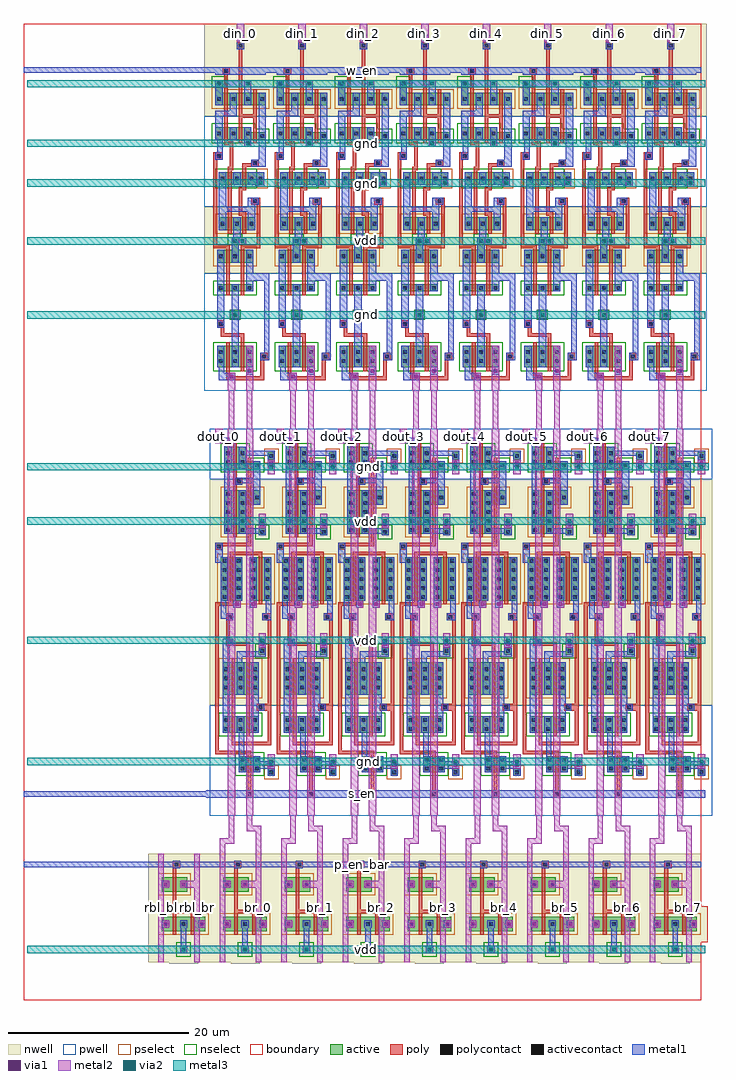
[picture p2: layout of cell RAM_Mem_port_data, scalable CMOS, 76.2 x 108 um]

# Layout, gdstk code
import gdstk
lib = gdstk.Library(unit=1e-6, precision=1e-09)
def R(c, l, rs):  # rectangles x0, y0, x1, y1
    for r in rs: c.add(gdstk.rectangle(r[:2], r[2:], *l))
def A(c, l, x, y, w, h, nx, ny, dx, dy):  # array of equal rectangles
    R(c, l, [(x+i*dx, y+j*dy, x+i*dx+w, y+j*dy+h) for i in range(nx) for j in range(ny)])
def P(c, l, *ps):  # polygons
    for p in ps: c.add(gdstk.Polygon(p, *l))
pwell = (41, 0)
nwell = (42, 0)
active = (43, 0)
pselect = (44, 0)
nselect = (45, 0)
poly = (46, 0)
polycontact = (47, 0)
activecontact = (48, 0)
metal1 = (49, 0)
via1 = (50, 0)
metal2 = (51, 0)
via2 = (61, 0)
metal3 = (62, 0)
boundary = (63, 0)

ram_mem_contact_12 = lib.new_cell('RAM_Mem_contact_12')
R(ram_mem_contact_12, nwell, [(-1.2,-1.2,2,2)])
R(ram_mem_contact_12, active, [(0,0,0.8,0.8)])
R(ram_mem_contact_12, pselect, [(-0.4,-0.4,1.2,1.2)])
R(ram_mem_contact_12, activecontact, [(0.2,0.2,0.6,0.6)])
R(ram_mem_contact_12, metal1, [(0,0,0.8,0.8)])
R(ram_mem_contact_12, boundary, [(-1.2,-1.2,2,2)])

ram_mem_pmos_m1_w1_600_s = lib.new_cell('RAM_Mem_pmos_m1_w1_600_sm1_dm1')
R(ram_mem_pmos_m1_w1_600_s, nwell, [(-1.2,-1.2,4,2.8)])
R(ram_mem_pmos_m1_w1_600_s, active, [(0,0,2.8,1.6)])
R(ram_mem_pmos_m1_w1_600_s, pselect, [(-0.4,-0.4,3.2,2)])
R(ram_mem_pmos_m1_w1_600_s, poly, [(1.2,-0.4,1.6,2), (1.2,-0.4,1.6,2)])
R(ram_mem_pmos_m1_w1_600_s, metal1, [(0,0.4,0.8,1.2), (2,0.4,2.8,1.2)])
R(ram_mem_pmos_m1_w1_600_s, boundary, [(-1.2,-1.2,4,2.8)])
ram_mem_pmos_m1_w1_600_s.add(gdstk.Reference(ram_mem_contact_12, (0,0.4)))
ram_mem_pmos_m1_w1_600_s.add(gdstk.Reference(ram_mem_contact_12, (2,0.4)))
ram_mem_pmos_m1_w1_600_s.add(gdstk.Label('G', (1.4,0.8), layer=46, texttype=0))
ram_mem_pmos_m1_w1_600_s.add(gdstk.Label('S', (0.4,0.8), layer=49, texttype=0))
ram_mem_pmos_m1_w1_600_s.add(gdstk.Label('D', (2.4,0.8), layer=49, texttype=0))

ram_mem_contact_15 = lib.new_cell('RAM_Mem_contact_15')
R(ram_mem_contact_15, poly, [(0,0,0.8,0.8)])
R(ram_mem_contact_15, polycontact, [(0.2,0.2,0.6,0.6)])
R(ram_mem_contact_15, metal1, [(0,0,0.8,0.8)])
R(ram_mem_contact_15, boundary, [(0,0,0.8,0.8)])

ram_mem_contact_23 = lib.new_cell('RAM_Mem_contact_23')
R(ram_mem_contact_23, nwell, [(-1.2,-1.2,2,2)])
R(ram_mem_contact_23, active, [(0,0,0.8,0.8)])
R(ram_mem_contact_23, nselect, [(-0.4,-0.4,1.2,1.2)])
R(ram_mem_contact_23, activecontact, [(0.2,0.2,0.6,0.6)])
R(ram_mem_contact_23, metal1, [(0,0,0.8,0.8)])
R(ram_mem_contact_23, boundary, [(-1.2,-1.2,2,2)])

ram_mem_contact_18 = lib.new_cell('RAM_Mem_contact_18')
R(ram_mem_contact_18, metal1, [(0,0,0.8,0.8)])
R(ram_mem_contact_18, via1, [(0.2,0.2,0.6,0.6)])
R(ram_mem_contact_18, metal2, [(0,0,0.8,0.8)])
R(ram_mem_contact_18, boundary, [(0,0,0.8,0.8)])

ram_mem_contact_24 = lib.new_cell('RAM_Mem_contact_24')
R(ram_mem_contact_24, metal1, [(0,0,0.8,0.8)])
R(ram_mem_contact_24, via1, [(0.2,0.2,0.6,0.6)])
R(ram_mem_contact_24, metal2, [(0,0,0.8,0.8)])
R(ram_mem_contact_24, boundary, [(0,0,0.8,0.8)])

ram_mem_precharge_0 = lib.new_cell('RAM_Mem_precharge_0')
R(ram_mem_precharge_0, nwell, [(0,0,6.8,12)])
R(ram_mem_precharge_0, poly, [(2.7,1,3.1,1.4), (2.9,1,3.1,1.4), (2.7,1.2,3.1,2.2), (2.7,4.6,3.1,6.6), (2.7,6.2,5.1,6.6)])
R(ram_mem_precharge_0, metal1, [(0,0.9,6.8,1.5), (3.6,7.8,4.2,10.6), (3.6,10.3,4.2,10.9)])
R(ram_mem_precharge_0, metal2, [(1.1,0,1.7,12), (1.1,0,1.7,12), (5.1,0,5.7,12), (5.1,0,5.7,12), (1.4,3,1.9,3.8), (3.9,3,5.4,3.8), (1.4,7.4,1.9,8.2), (5.4,7.4,5.9,8.2)])
R(ram_mem_precharge_0, boundary, [(0,0,6.8,12)])
ram_mem_precharge_0.add(gdstk.Reference(ram_mem_pmos_m1_w1_600_s, (1.5,2.6)))
ram_mem_precharge_0.add(gdstk.Reference(ram_mem_pmos_m1_w1_600_s, (1.5,7)))
ram_mem_precharge_0.add(gdstk.Reference(ram_mem_pmos_m1_w1_600_s, (3.5,7)))
ram_mem_precharge_0.add(gdstk.Reference(ram_mem_contact_15, (2.7,0.8)))
ram_mem_precharge_0.add(gdstk.Reference(ram_mem_contact_23, (3.5,10.2)))
ram_mem_precharge_0.add(gdstk.Reference(ram_mem_contact_18, (3.5,10.2)))
ram_mem_precharge_0.add(gdstk.Reference(ram_mem_contact_24, (1.5,3)))
ram_mem_precharge_0.add(gdstk.Reference(ram_mem_contact_24, (3.5,3)))
ram_mem_precharge_0.add(gdstk.Reference(ram_mem_contact_24, (1.5,7.4)))
ram_mem_precharge_0.add(gdstk.Reference(ram_mem_contact_24, (5.5,7.4)))
ram_mem_precharge_0.add(gdstk.Label('en_bar', (3.4,1.2), layer=49, texttype=0))
ram_mem_precharge_0.add(gdstk.Label('vdd', (3.9,10.6), layer=49, texttype=0))
ram_mem_precharge_0.add(gdstk.Label('bl', (1.4,6), layer=51, texttype=0))
ram_mem_precharge_0.add(gdstk.Label('br', (5.4,6), layer=51, texttype=0))

ram_mem_contact_19 = lib.new_cell('RAM_Mem_contact_19')
R(ram_mem_contact_19, metal2, [(0,0,0.8,0.8)])
R(ram_mem_contact_19, via2, [(0.2,0.2,0.6,0.6)])
R(ram_mem_contact_19, metal3, [(0,0,0.8,0.8)])
R(ram_mem_contact_19, boundary, [(0,0,0.8,0.8)])

ram_mem_precharge_array = lib.new_cell('RAM_Mem_precharge_array')
R(ram_mem_precharge_array, metal1, [(0,0.9,75,1.5), (16.9,0.9,17.5,1.5), (16.9,0.9,17.5,1.5), (23.7,0.9,24.3,1.5), (23.7,0.9,24.3,1.5), (30.5,0.9,31.1,1.5), (30.5,0.9,31.1,1.5), (37.3,0.9,37.9,1.5), (37.3,0.9,37.9,1.5), (44.1,0.9,44.7,1.5), (44.1,0.9,44.7,1.5), (50.9,0.9,51.5,1.5), (50.9,0.9,51.5,1.5), (57.7,0.9,58.3,1.5), (57.7,0.9,58.3,1.5), (64.5,0.9,65.1,1.5), (64.5,0.9,65.1,1.5), (71.3,0.9,71.9,1.5), (71.3,0.9,71.9,1.5)])
R(ram_mem_precharge_array, metal2, [(14.9,0,15.5,12), (18.9,0,19.5,12), (21.7,0,22.3,12), (25.7,0,26.3,12), (28.5,0,29.1,12), (32.5,0,33.1,12), (35.3,0,35.9,12), (39.3,0,39.9,12), (42.1,0,42.7,12), (46.1,0,46.7,12), (48.9,0,49.5,12), (52.9,0,53.5,12), (55.7,0,56.3,12), (59.7,0,60.3,12), (62.5,0,63.1,12), (66.5,0,67.1,12), (69.3,0,69.9,12), (73.3,0,73.9,12)])
R(ram_mem_precharge_array, metal3, [(0.4,10.2,75.4,11)])
R(ram_mem_precharge_array, boundary, [(0,0,75,12)])
ram_mem_precharge_array.add(gdstk.Reference(ram_mem_precharge_0, (13.8,0)))
ram_mem_precharge_array.add(gdstk.Reference(ram_mem_precharge_0, (20.6,0)))
ram_mem_precharge_array.add(gdstk.Reference(ram_mem_precharge_0, (27.4,0)))
ram_mem_precharge_array.add(gdstk.Reference(ram_mem_precharge_0, (34.2,0)))
ram_mem_precharge_array.add(gdstk.Reference(ram_mem_precharge_0, (41,0)))
ram_mem_precharge_array.add(gdstk.Reference(ram_mem_precharge_0, (47.8,0)))
ram_mem_precharge_array.add(gdstk.Reference(ram_mem_precharge_0, (54.6,0)))
ram_mem_precharge_array.add(gdstk.Reference(ram_mem_precharge_0, (61.4,0)))
ram_mem_precharge_array.add(gdstk.Reference(ram_mem_precharge_0, (68.2,0)))
ram_mem_precharge_array.add(gdstk.Reference(ram_mem_contact_18, (17.3,10.2)))
ram_mem_precharge_array.add(gdstk.Reference(ram_mem_contact_19, (17.3,10.2)))
ram_mem_precharge_array.add(gdstk.Reference(ram_mem_contact_18, (24.1,10.2)))
ram_mem_precharge_array.add(gdstk.Reference(ram_mem_contact_19, (24.1,10.2)))
ram_mem_precharge_array.add(gdstk.Reference(ram_mem_contact_18, (30.9,10.2)))
ram_mem_precharge_array.add(gdstk.Reference(ram_mem_contact_19, (30.9,10.2)))
ram_mem_precharge_array.add(gdstk.Reference(ram_mem_contact_18, (37.7,10.2)))
ram_mem_precharge_array.add(gdstk.Reference(ram_mem_contact_19, (37.7,10.2)))
ram_mem_precharge_array.add(gdstk.Reference(ram_mem_contact_18, (44.5,10.2)))
ram_mem_precharge_array.add(gdstk.Reference(ram_mem_contact_19, (44.5,10.2)))
ram_mem_precharge_array.add(gdstk.Reference(ram_mem_contact_18, (51.3,10.2)))
ram_mem_precharge_array.add(gdstk.Reference(ram_mem_contact_19, (51.3,10.2)))
ram_mem_precharge_array.add(gdstk.Reference(ram_mem_contact_18, (58.1,10.2)))
ram_mem_precharge_array.add(gdstk.Reference(ram_mem_contact_19, (58.1,10.2)))
ram_mem_precharge_array.add(gdstk.Reference(ram_mem_contact_18, (64.9,10.2)))
ram_mem_precharge_array.add(gdstk.Reference(ram_mem_contact_19, (64.9,10.2)))
ram_mem_precharge_array.add(gdstk.Reference(ram_mem_contact_18, (71.7,10.2)))
ram_mem_precharge_array.add(gdstk.Reference(ram_mem_contact_19, (71.7,10.2)))
ram_mem_precharge_array.add(gdstk.Label('en_bar', (37.5,1.2), layer=49, texttype=0))
ram_mem_precharge_array.add(gdstk.Label('bl_0', (15.2,6), layer=51, texttype=0))
ram_mem_precharge_array.add(gdstk.Label('br_0', (19.2,6), layer=51, texttype=0))
ram_mem_precharge_array.add(gdstk.Label('bl_1', (22,6), layer=51, texttype=0))
ram_mem_precharge_array.add(gdstk.Label('br_1', (26,6), layer=51, texttype=0))
ram_mem_precharge_array.add(gdstk.Label('bl_2', (28.8,6), layer=51, texttype=0))
ram_mem_precharge_array.add(gdstk.Label('br_2', (32.8,6), layer=51, texttype=0))
ram_mem_precharge_array.add(gdstk.Label('bl_3', (35.6,6), layer=51, texttype=0))
ram_mem_precharge_array.add(gdstk.Label('br_3', (39.6,6), layer=51, texttype=0))
ram_mem_precharge_array.add(gdstk.Label('bl_4', (42.4,6), layer=51, texttype=0))
ram_mem_precharge_array.add(gdstk.Label('br_4', (46.4,6), layer=51, texttype=0))
ram_mem_precharge_array.add(gdstk.Label('bl_5', (49.2,6), layer=51, texttype=0))
ram_mem_precharge_array.add(gdstk.Label('br_5', (53.2,6), layer=51, texttype=0))
ram_mem_precharge_array.add(gdstk.Label('bl_6', (56,6), layer=51, texttype=0))
ram_mem_precharge_array.add(gdstk.Label('br_6', (60,6), layer=51, texttype=0))
ram_mem_precharge_array.add(gdstk.Label('bl_7', (62.8,6), layer=51, texttype=0))
ram_mem_precharge_array.add(gdstk.Label('br_7', (66.8,6), layer=51, texttype=0))
ram_mem_precharge_array.add(gdstk.Label('bl_8', (69.6,6), layer=51, texttype=0))
ram_mem_precharge_array.add(gdstk.Label('br_8', (73.6,6), layer=51, texttype=0))
ram_mem_precharge_array.add(gdstk.Label('vdd', (37.9,10.6), layer=62, texttype=0))

sense_amp = lib.new_cell('sense_amp')
R(sense_amp, pwell, [(0,0,8,5.6), (0,30.6,8,42.8)])
R(sense_amp, nwell, [(0,5.6,8,30.6)])
R(sense_amp, active, [(1.6,2,4,3.6), (6.4,2.6,7.2,3.4), (1.6,3.6,5.6,4.4), (1.6,6.8,5.6,8.4), (1.6,8.4,4,11.6), (5.4,11,6.2,11.8), (1.2,14.2,3.6,19), (4.4,14.2,6.8,19), (5.4,24.2,6.2,25), (1.4,25.8,5.4,29.4), (1.4,31.8,5.4,33.6), (3.2,36.2,5.6,38), (6.4,37.6,7.2,38.4)])
R(sense_amp, pselect, [(6,2.2,7.6,3.8), (1.2,6.4,6,8.8), (1.2,8.8,4.4,12), (0.8,13.8,7.2,19.4), (1,25.4,5.8,29.8), (6,37.2,7.6,38.8)])
R(sense_amp, nselect, [(1.2,1.6,4.4,3.2), (1.2,3.2,6,4.8), (5,10.6,6.6,12.2), (5,23.8,6.6,25.4), (1,31.4,5.8,34), (2.8,35.8,6,38.4)])
R(sense_amp, poly, [(2.6,1.6,3,5.4), (4.2,3.2,4.6,12.6), (2.6,5.4,3.6,6.2), (2.6,6.2,3,12), (0.6,12.6,4.6,13), (0.6,13,1.4,13.4), (2.2,13.6,5.8,14), (2.2,14,2.6,19.2), (5.4,14,5.8,19.4), (0.6,19.2,2.6,19.6), (0.6,19.6,1,35.6), (1.8,20.4,2.6,21.2), (5.8,20.4,6.8,21.2), (1.8,21.2,2.2,23.2), (6.4,21.2,6.8,30.4), (1.8,23.2,2.6,23.6), (1.8,23.6,4.4,24), (4,24,4.4,34), (2.4,25.4,2.8,34.6), (5.2,30.4,6.8,31.2), (6.4,31.2,6.8,34.6), (2.4,34.6,6.8,35), (0.6,35.6,4.6,36), (4.2,36,4.6,40), (4,40,4.8,40.8)])
R(sense_amp, polycontact, [(3,5.6,3.4,6), (0.8,12.8,1.2,13.2), (2,20.6,2.4,21), (6,20.6,6.4,21), (2,23.4,2.4,23.8), (5.4,30.6,5.8,31), (4.2,40.2,4.6,40.6)])
A(sense_amp, activecontact, 1.8, 7, 0.4, 0.4, 1, 5, 0, 1)
A(sense_amp, activecontact, 3.4, 7, 0.4, 0.4, 1, 5, 0, 1)
A(sense_amp, activecontact, 1.4, 14.4, 0.4, 0.4, 4, 5, 1.6, 1)
A(sense_amp, activecontact, 1.6, 26.4, 0.4, 0.4, 3, 3, 1.6, 1)
A(sense_amp, activecontact, 1.6, 32, 0.4, 0.4, 3, 2, 1.6, 1)
R(sense_amp, activecontact, [(1.8,2.5,2.2,2.9), (3.4,2.5,3.8,2.9), (6.6,2.8,7,3.2), (1.8,3.5,2.2,3.9), (3.4,3.5,3.8,3.9), (5,3.8,5.4,4.2), (5,7.4,5.4,7.8), (5.6,11.2,6,11.6), (5.6,24.4,6,24.8), (3.4,36.4,3.8,36.8), (5,36.4,5.4,36.8), (3.4,37.4,3.8,37.8), (5,37.4,5.4,37.8), (6.6,37.8,7,38.2)])
R(sense_amp, metal1, [(0.6,0.8,1.4,1), (0.6,1,2.2,1.6), (1.6,1.6,2.2,2), (1.6,2,2.4,4.4), (3.2,2,4,2.4), (3.2,2.4,7.2,3), (3.2,3,4,4.4), (6.4,3,7.2,4.2), (4.8,3.6,5.6,5.4), (1.6,4.4,2.2,6.8), (2.8,5.4,5.6,6), (2.8,6,3.6,6.2), (4.8,6,5.6,8.4), (1.6,6.8,2.4,11.6), (3.2,6.8,4,11), (5.4,10.2,6.2,11), (3.2,11,6.2,11.6), (5.4,11.6,6.2,11.8), (0.6,12.6,1.4,14.2), (0.6,14.2,2,14.8), (2.8,14.2,3.6,19), (4.4,14.2,5.2,19.8), (6,14.2,6.8,19), (1.2,14.8,2,19), (1.2,19,1.8,20.4), (2.6,19,3.4,19.8), (6.2,19,6.8,20.4), (1.2,20.4,2.6,21), (5.8,20.4,6.8,21.2), (1.8,21,2.6,21.2), (1.4,23.2,2.6,24), (5.4,23.4,6.2,24.6), (1.4,24,2.2,33.6), (3,24.6,6.2,25.2), (3,25.2,3.6,25.8), (3,25.8,3.8,29.4), (4.6,25.8,5.4,30.4), (4.6,30.4,6,31.2), (4.6,31.2,5.4,33.6), (3,31.8,3.8,33.6), (3.2,33.6,3.8,36.2), (3.2,36.2,4,38), (4.8,36.2,5.6,36.8), (4.8,36.8,7.2,37.6), (4.8,37.6,5.6,38), (6.4,37.6,7.2,38.4), (-0.4,40,7.2,40.8), (-0.4,40,7.2,40.8)])
R(sense_amp, via1, [(0.8,1,1.2,1.4), (6.6,3.6,7,4), (5.6,10.4,6,10.8), (2.8,19.2,3.2,19.6), (4.6,19.2,5,19.6), (5.6,23.6,6,24), (6.6,37,7,37.4)])
R(sense_amp, metal2, [(0.6,0,1.4,1.6), (0.6,0,1.4,1.6), (2,0,2.8,19), (4,0,4.8,19), (6.4,3.4,7.2,5), (6.4,3.4,7.2,5), (5.4,9.4,6.2,11), (5.4,9.4,6.2,11), (2,19,3.4,19.8), (4,19,5.2,19.8), (2,19.8,2.8,42.8), (2,19.8,2.8,42.8), (4,19.8,4.8,42.8), (4,19.8,4.8,42.8), (5.4,22.6,6.2,24.2), (5.4,22.6,6.2,24.2), (6.4,36,7.2,37.6), (6.4,36,7.2,37.6)])
R(sense_amp, boundary, [(0,0,6.8,42.8)])
sense_amp.add(gdstk.Label('dout', (1,0.4), layer=51, texttype=0))
sense_amp.add(gdstk.Label('vdd', (5.8,9.8), layer=51, texttype=0))
sense_amp.add(gdstk.Label('br', (4.4,42.4), layer=51, texttype=0))
sense_amp.add(gdstk.Label('bl', (2.4,42.4), layer=51, texttype=0))
sense_amp.add(gdstk.Label('vdd', (5.8,23), layer=51, texttype=0))
sense_amp.add(gdstk.Label('gnd', (6.8,36.4), layer=51, texttype=0))
sense_amp.add(gdstk.Label('en', (0,40), layer=49, texttype=0))
sense_amp.add(gdstk.Label('gnd', (6.8,4.6), layer=51, texttype=0))
sense_amp.add(gdstk.Label('bl', (2.4,31.3), layer=51, texttype=0))
sense_amp.add(gdstk.Label('br', (4.4,31.3), layer=51, texttype=0))
sense_amp.add(gdstk.Label('dout', (1,0.8), layer=51, texttype=0))
sense_amp.add(gdstk.Label('en', (3.4,40.4), layer=49, texttype=0))
sense_amp.add(gdstk.Label('vdd', (5.8,10.2), layer=51, texttype=0))
sense_amp.add(gdstk.Label('vdd', (5.8,23.4), layer=51, texttype=0))
sense_amp.add(gdstk.Label('gnd', (6.8,36.8), layer=51, texttype=0))
sense_amp.add(gdstk.Label('gnd', (6.8,4.2), layer=51, texttype=0))

ram_mem_sense_amp_array = lib.new_cell('RAM_Mem_sense_amp_array')
A(ram_mem_sense_amp_array, metal1, 23.7, 40.1, 0.6, 0.6, 8, 1, 6.8, 0)
R(ram_mem_sense_amp_array, metal1, [(0,40.1,75,40.7)])
A(ram_mem_sense_amp_array, metal2, 21.2, 0, 0.8, 1.6, 8, 1, 6.8, 0)
R(ram_mem_sense_amp_array, metal2, [(22.6,19.8,23.4,42.8), (24.6,19.8,25.4,42.8), (29.4,19.8,30.2,42.8), (31.4,19.8,32.2,42.8), (36.2,19.8,37,42.8), (38.2,19.8,39,42.8), (43,19.8,43.8,42.8), (45,19.8,45.8,42.8), (49.8,19.8,50.6,42.8), (51.8,19.8,52.6,42.8), (56.6,19.8,57.4,42.8), (58.6,19.8,59.4,42.8), (63.4,19.8,64.2,42.8), (65.4,19.8,66.2,42.8), (70.2,19.8,71,42.8), (72.2,19.8,73,42.8)])
R(ram_mem_sense_amp_array, metal3, [(0.4,3.8,75.8,4.6), (0.4,9.8,75.4,10.6), (0.4,23,75.4,23.8), (0.4,36.4,75.8,37.2)])
R(ram_mem_sense_amp_array, boundary, [(0,0,75,42.8)])
ram_mem_sense_amp_array.add(gdstk.Reference(sense_amp, (20.6,0)))
ram_mem_sense_amp_array.add(gdstk.Reference(sense_amp, (27.4,0)))
ram_mem_sense_amp_array.add(gdstk.Reference(sense_amp, (34.2,0)))
ram_mem_sense_amp_array.add(gdstk.Reference(sense_amp, (41,0)))
ram_mem_sense_amp_array.add(gdstk.Reference(sense_amp, (47.8,0)))
ram_mem_sense_amp_array.add(gdstk.Reference(sense_amp, (54.6,0)))
ram_mem_sense_amp_array.add(gdstk.Reference(sense_amp, (61.4,0)))
ram_mem_sense_amp_array.add(gdstk.Reference(sense_amp, (68.2,0)))
ram_mem_sense_amp_array.add(gdstk.Reference(ram_mem_contact_19, (26,9.8)))
ram_mem_sense_amp_array.add(gdstk.Reference(ram_mem_contact_19, (32.8,9.8)))
ram_mem_sense_amp_array.add(gdstk.Reference(ram_mem_contact_19, (39.6,9.8)))
ram_mem_sense_amp_array.add(gdstk.Reference(ram_mem_contact_19, (46.4,9.8)))
ram_mem_sense_amp_array.add(gdstk.Reference(ram_mem_contact_19, (53.2,9.8)))
ram_mem_sense_amp_array.add(gdstk.Reference(ram_mem_contact_19, (60,9.8)))
ram_mem_sense_amp_array.add(gdstk.Reference(ram_mem_contact_19, (66.8,9.8)))
ram_mem_sense_amp_array.add(gdstk.Reference(ram_mem_contact_19, (73.6,9.8)))
ram_mem_sense_amp_array.add(gdstk.Reference(ram_mem_contact_19, (26,23)))
ram_mem_sense_amp_array.add(gdstk.Reference(ram_mem_contact_19, (32.8,23)))
ram_mem_sense_amp_array.add(gdstk.Reference(ram_mem_contact_19, (39.6,23)))
ram_mem_sense_amp_array.add(gdstk.Reference(ram_mem_contact_19, (46.4,23)))
ram_mem_sense_amp_array.add(gdstk.Reference(ram_mem_contact_19, (53.2,23)))
ram_mem_sense_amp_array.add(gdstk.Reference(ram_mem_contact_19, (60,23)))
ram_mem_sense_amp_array.add(gdstk.Reference(ram_mem_contact_19, (66.8,23)))
ram_mem_sense_amp_array.add(gdstk.Reference(ram_mem_contact_19, (73.6,23)))
ram_mem_sense_amp_array.add(gdstk.Reference(ram_mem_contact_19, (27,36.4)))
ram_mem_sense_amp_array.add(gdstk.Reference(ram_mem_contact_19, (33.8,36.4)))
ram_mem_sense_amp_array.add(gdstk.Reference(ram_mem_contact_19, (40.6,36.4)))
ram_mem_sense_amp_array.add(gdstk.Reference(ram_mem_contact_19, (47.4,36.4)))
ram_mem_sense_amp_array.add(gdstk.Reference(ram_mem_contact_19, (54.2,36.4)))
ram_mem_sense_amp_array.add(gdstk.Reference(ram_mem_contact_19, (61,36.4)))
ram_mem_sense_amp_array.add(gdstk.Reference(ram_mem_contact_19, (67.8,36.4)))
ram_mem_sense_amp_array.add(gdstk.Reference(ram_mem_contact_19, (74.6,36.4)))
ram_mem_sense_amp_array.add(gdstk.Reference(ram_mem_contact_19, (27,3.8)))
ram_mem_sense_amp_array.add(gdstk.Reference(ram_mem_contact_19, (33.8,3.8)))
ram_mem_sense_amp_array.add(gdstk.Reference(ram_mem_contact_19, (40.6,3.8)))
ram_mem_sense_amp_array.add(gdstk.Reference(ram_mem_contact_19, (47.4,3.8)))
ram_mem_sense_amp_array.add(gdstk.Reference(ram_mem_contact_19, (54.2,3.8)))
ram_mem_sense_amp_array.add(gdstk.Reference(ram_mem_contact_19, (61,3.8)))
ram_mem_sense_amp_array.add(gdstk.Reference(ram_mem_contact_19, (67.8,3.8)))
ram_mem_sense_amp_array.add(gdstk.Reference(ram_mem_contact_19, (74.6,3.8)))
ram_mem_sense_amp_array.add(gdstk.Label('bl_0', (23,31.3), layer=51, texttype=0))
ram_mem_sense_amp_array.add(gdstk.Label('br_0', (25,31.3), layer=51, texttype=0))
ram_mem_sense_amp_array.add(gdstk.Label('data_0', (21.6,0.8), layer=51, texttype=0))
ram_mem_sense_amp_array.add(gdstk.Label('bl_1', (29.8,31.3), layer=51, texttype=0))
ram_mem_sense_amp_array.add(gdstk.Label('br_1', (31.8,31.3), layer=51, texttype=0))
ram_mem_sense_amp_array.add(gdstk.Label('data_1', (28.4,0.8), layer=51, texttype=0))
ram_mem_sense_amp_array.add(gdstk.Label('bl_2', (36.6,31.3), layer=51, texttype=0))
ram_mem_sense_amp_array.add(gdstk.Label('br_2', (38.6,31.3), layer=51, texttype=0))
ram_mem_sense_amp_array.add(gdstk.Label('data_2', (35.2,0.8), layer=51, texttype=0))
ram_mem_sense_amp_array.add(gdstk.Label('bl_3', (43.4,31.3), layer=51, texttype=0))
ram_mem_sense_amp_array.add(gdstk.Label('br_3', (45.4,31.3), layer=51, texttype=0))
ram_mem_sense_amp_array.add(gdstk.Label('data_3', (42,0.8), layer=51, texttype=0))
ram_mem_sense_amp_array.add(gdstk.Label('bl_4', (50.2,31.3), layer=51, texttype=0))
ram_mem_sense_amp_array.add(gdstk.Label('br_4', (52.2,31.3), layer=51, texttype=0))
ram_mem_sense_amp_array.add(gdstk.Label('data_4', (48.8,0.8), layer=51, texttype=0))
ram_mem_sense_amp_array.add(gdstk.Label('bl_5', (57,31.3), layer=51, texttype=0))
ram_mem_sense_amp_array.add(gdstk.Label('br_5', (59,31.3), layer=51, texttype=0))
ram_mem_sense_amp_array.add(gdstk.Label('data_5', (55.6,0.8), layer=51, texttype=0))
ram_mem_sense_amp_array.add(gdstk.Label('bl_6', (63.8,31.3), layer=51, texttype=0))
ram_mem_sense_amp_array.add(gdstk.Label('br_6', (65.8,31.3), layer=51, texttype=0))
ram_mem_sense_amp_array.add(gdstk.Label('data_6', (62.4,0.8), layer=51, texttype=0))
ram_mem_sense_amp_array.add(gdstk.Label('bl_7', (70.6,31.3), layer=51, texttype=0))
ram_mem_sense_amp_array.add(gdstk.Label('br_7', (72.6,31.3), layer=51, texttype=0))
ram_mem_sense_amp_array.add(gdstk.Label('data_7', (69.2,0.8), layer=51, texttype=0))
ram_mem_sense_amp_array.add(gdstk.Label('vdd', (37.9,10.2), layer=62, texttype=0))
ram_mem_sense_amp_array.add(gdstk.Label('vdd', (37.9,23.4), layer=62, texttype=0))
ram_mem_sense_amp_array.add(gdstk.Label('gnd', (38.1,4.2), layer=62, texttype=0))
ram_mem_sense_amp_array.add(gdstk.Label('gnd', (38.1,36.8), layer=62, texttype=0))
ram_mem_sense_amp_array.add(gdstk.Label('en', (37.5,40.4), layer=49, texttype=0))

write_driver = lib.new_cell('write_driver')
R(write_driver, pwell, [(-0.6,10.2,7.4,20.2), (-0.6,27.6,7.4,40.6)])
R(write_driver, nwell, [(-0.6,0,7.4,10.2), (-0.6,20.2,7.4,27.6)])
R(write_driver, active, [(0.6,6.2,1.4,7.6), (0.6,7.6,6.2,9), (0.6,11.4,4.6,12), (0.6,12,6.2,12.8), (1,16.4,6,17.8), (1,21.4,5,22.8), (2.4,23.6,3.2,25), (0.8,25,4.8,26.4), (0.8,28.8,4.8,29.6), (2.2,31.6,3.4,32.7), (0.8,35.6,4.8,38)])
R(write_driver, pselect, [(0.2,7,1.8,7.2), (0.2,7.2,6.6,9.4), (5.2,16,6.4,18.2), (0.6,21,5.4,23.2), (2,24.4,3.6,24.6), (0.4,24.6,5.2,26.8), (2.2,31.6,3.4,32.7)])
R(write_driver, nselect, [(0.2,5.8,1.8,7), (0.2,11,5,11.6), (0.2,11.6,6.6,13.2), (0.6,16,5.2,18.2), (2,23.2,3.6,24.4), (0.4,28.4,5.2,30), (0.4,35.2,5.2,38.4)])
R(write_driver, poly, [(3,2,3.8,2.8), (3.2,2.8,3.6,10), (1.4,4.8,2.2,5.6), (1.6,5.6,2,13), (4.8,7.2,5.2,10), (3.2,10,5.2,10.4), (3.2,10.4,3.6,13.2), (4.8,10.4,5.2,13.2), (1.6,13,2.6,13.4), (2.2,13.4,2.6,15.8), (0.4,14.2,1.4,15), (0.4,15,0.8,24.4), (4.6,15,5.4,15.4), (3.6,15.4,5.4,15.8), (2,15.8,2.6,16.2), (3.6,15.8,4,18), (2,16.2,2.4,23.2), (3.2,18,4,18.4), (3.2,18.4,3.6,20.8), (4.6,19.2,5.6,20), (5.2,20,5.6,24.4), (3.2,20.8,4,21.2), (3.6,21.2,4,23.2), (0.4,24.4,2.2,24.8), (3.4,24.4,5.6,24.8), (1.8,24.8,2.2,30), (3.4,24.8,3.8,30), (0.8,32.8,1.6,33.6), (1.2,33.6,1.6,34.2), (1.2,34.2,3.8,34.6), (3.4,34.6,3.8,38.4), (1.8,35.2,2.2,39), (5.6,36.4,6.4,37.2), (5.6,37.2,6,39), (1.8,39,6,39.4)])
R(write_driver, polycontact, [(3.2,2.2,3.6,2.6), (1.6,5,2,5.4), (0.8,14.4,1.2,14.8), (4.8,15.2,5.2,15.6), (4.8,19.4,5.2,19.8), (1,33,1.4,33.4), (5.8,36.6,6.2,37)])
A(write_driver, activecontact, 0.8, 8.1, 0.4, 0.4, 4, 1, 1.6, 0)
A(write_driver, activecontact, 0.8, 11.9, 0.4, 0.4, 3, 1, 1.6, 0)
A(write_driver, activecontact, 1.2, 16.9, 0.4, 0.4, 3, 2, 1.6, 5)
A(write_driver, activecontact, 1, 25.5, 0.4, 0.4, 3, 2, 1.6, 3.5)
A(write_driver, activecontact, 1, 36.1, 0.4, 0.4, 3, 2, 1.6, 1)
R(write_driver, activecontact, [(0.8,6.4,1.2,6.8), (5.6,12.2,6,12.6), (5.4,16.9,5.8,17.3), (2.6,23.8,3,24.2), (2.6,32,3,32.4)])
R(write_driver, metal1, [(3,1.2,3.8,2.8), (0.6,4.8,6.2,5.6), (0.6,4.8,6.2,5.6), (0.6,6.2,4.6,7), (0.6,7,1.4,9), (3.8,7,4.6,9), (2.2,7.6,3,9.6), (5.4,7.6,6.2,15), (0.6,9.6,3,10.2), (0.6,10.2,1.4,12.8), (2.2,11.4,3,12.8), (3.8,11.4,4.6,13.6), (0.8,12.8,1.4,14.2), (0.6,14.2,1.4,15), (4.6,15,6.2,15.8), (1,16.4,1.8,20.2), (2.6,16.4,3.4,17.8), (4.2,16.4,6,17.8), (5,17.8,6,18), (4.2,19.2,5.4,20), (4.2,20,5,20.2), (1,20.2,5,20.8), (1,20.8,1.8,22.8), (4.2,20.8,5,22.8), (2.6,21.4,3.4,23.6), (2.4,23.6,4,24.4), (2.4,24.4,3.2,26.4), (0.8,25,1.6,33.6), (4,25,4.8,27.6), (4,27.6,6.6,28.4), (4,28.4,4.8,29.6), (6,28.4,6.6,36.4), (0.8,35.6,1.6,38), (4,35.6,4.8,38.8), (5.6,36.4,6.6,37.2), (1,38,1.6,38.6), (1,38.6,2.8,39.4)])
P(write_driver, metal1, [(2.4,28.8),(2.4,31.695),(2.4,38),(3.2,38),(3.2,28.8)])
R(write_driver, via1, [(3.2,1.4,3.6,1.8), (4,6.4,4.4,6.8), (4,13,4.4,13.4), (5.4,17.4,5.8,17.8), (3.4,23.8,3.8,24.2), (2.6,32,3,32.4), (4.2,38.2,4.6,38.6), (2.2,38.8,2.6,39.2)])
R(write_driver, metal2, [(3,0,3.8,2), (3,0,3.8,2), (3.8,6.2,4.6,7), (3.8,6.2,4.6,7), (3.8,12.8,4.6,13.6), (3.8,12.8,4.6,13.6), (5.2,17.2,6,18), (5.2,17.2,6,18), (3.2,23.6,4,24.4), (3.2,23.6,4,24.4), (2.4,31.8,3.2,32.6), (2.4,31.8,3.2,32.6), (4,35.6,4.8,40.6), (4,35.6,4.8,40.6), (2,38.6,2.8,40.6), (2,38.6,2.8,40.6)])
R(write_driver, boundary, [(0,0,6.8,40.6)])
write_driver.add(gdstk.Label('en', (3.4,5.2), layer=49, texttype=0))
write_driver.add(gdstk.Label('din', (3,0.2), layer=51, texttype=0))
write_driver.add(gdstk.Label('gnd', (4.2,13.2), layer=51, texttype=0))
write_driver.add(gdstk.Label('gnd', (5.6,17.6), layer=51, texttype=0))
write_driver.add(gdstk.Label('vdd', (4.2,6.6), layer=51, texttype=0))
write_driver.add(gdstk.Label('vdd', (3.6,24), layer=51, texttype=0))
write_driver.add(gdstk.Label('bl', (2.4,40.2), layer=51, texttype=0))
write_driver.add(gdstk.Label('br', (4.4,40.2), layer=51, texttype=0))
write_driver.add(gdstk.Label('gnd', (2.8,32.2), layer=51, texttype=0))
write_driver.add(gdstk.Label('din', (3.4,1), layer=51, texttype=0))
write_driver.add(gdstk.Label('bl', (2.4,39.6), layer=51, texttype=0))
write_driver.add(gdstk.Label('br', (4.4,38.1), layer=51, texttype=0))
write_driver.add(gdstk.Label('en', (3.4,5.2), layer=49, texttype=0))
write_driver.add(gdstk.Label('vdd', (4.2,6.6), layer=51, texttype=0))
write_driver.add(gdstk.Label('vdd', (3.6,24), layer=51, texttype=0))
write_driver.add(gdstk.Label('gnd', (4.2,13.2), layer=51, texttype=0))
write_driver.add(gdstk.Label('gnd', (5.6,17.6), layer=51, texttype=0))
write_driver.add(gdstk.Label('gnd', (2.8,32.2), layer=51, texttype=0))

ram_mem_write_driver_arr = lib.new_cell('RAM_Mem_write_driver_array')
R(ram_mem_write_driver_arr, metal1, [(0,4.8,75,5.4)])
A(ram_mem_write_driver_arr, metal2, 23.6, 0, 0.8, 2, 8, 1, 6.8, 0)
A(ram_mem_write_driver_arr, metal2, 24.6, 35.6, 0.8, 5, 8, 1, 6.8, 0)
A(ram_mem_write_driver_arr, metal2, 22.6, 38.6, 0.8, 2, 8, 1, 6.8, 0)
R(ram_mem_write_driver_arr, metal3, [(0.4,6.2,75.4,7), (0.4,12.8,75.4,13.6), (0.4,17.2,75.4,18), (0.4,23.6,75.4,24.4), (0.4,31.8,75.4,32.6)])
R(ram_mem_write_driver_arr, boundary, [(0,0,75,40.6)])
ram_mem_write_driver_arr.add(gdstk.Reference(write_driver, (20.6,0)))
ram_mem_write_driver_arr.add(gdstk.Reference(write_driver, (27.4,0)))
ram_mem_write_driver_arr.add(gdstk.Reference(write_driver, (34.2,0)))
ram_mem_write_driver_arr.add(gdstk.Reference(write_driver, (41,0)))
ram_mem_write_driver_arr.add(gdstk.Reference(write_driver, (47.8,0)))
ram_mem_write_driver_arr.add(gdstk.Reference(write_driver, (54.6,0)))
ram_mem_write_driver_arr.add(gdstk.Reference(write_driver, (61.4,0)))
ram_mem_write_driver_arr.add(gdstk.Reference(write_driver, (68.2,0)))
ram_mem_write_driver_arr.add(gdstk.Reference(ram_mem_contact_19, (24.4,6.2)))
ram_mem_write_driver_arr.add(gdstk.Reference(ram_mem_contact_19, (31.2,6.2)))
ram_mem_write_driver_arr.add(gdstk.Reference(ram_mem_contact_19, (38,6.2)))
ram_mem_write_driver_arr.add(gdstk.Reference(ram_mem_contact_19, (44.8,6.2)))
ram_mem_write_driver_arr.add(gdstk.Reference(ram_mem_contact_19, (51.6,6.2)))
ram_mem_write_driver_arr.add(gdstk.Reference(ram_mem_contact_19, (58.4,6.2)))
ram_mem_write_driver_arr.add(gdstk.Reference(ram_mem_contact_19, (65.2,6.2)))
ram_mem_write_driver_arr.add(gdstk.Reference(ram_mem_contact_19, (72,6.2)))
ram_mem_write_driver_arr.add(gdstk.Reference(ram_mem_contact_19, (23.8,23.6)))
ram_mem_write_driver_arr.add(gdstk.Reference(ram_mem_contact_19, (30.6,23.6)))
ram_mem_write_driver_arr.add(gdstk.Reference(ram_mem_contact_19, (37.4,23.6)))
ram_mem_write_driver_arr.add(gdstk.Reference(ram_mem_contact_19, (44.2,23.6)))
ram_mem_write_driver_arr.add(gdstk.Reference(ram_mem_contact_19, (51,23.6)))
ram_mem_write_driver_arr.add(gdstk.Reference(ram_mem_contact_19, (57.8,23.6)))
ram_mem_write_driver_arr.add(gdstk.Reference(ram_mem_contact_19, (64.6,23.6)))
ram_mem_write_driver_arr.add(gdstk.Reference(ram_mem_contact_19, (71.4,23.6)))
ram_mem_write_driver_arr.add(gdstk.Reference(ram_mem_contact_19, (24.4,12.8)))
ram_mem_write_driver_arr.add(gdstk.Reference(ram_mem_contact_19, (31.2,12.8)))
ram_mem_write_driver_arr.add(gdstk.Reference(ram_mem_contact_19, (38,12.8)))
ram_mem_write_driver_arr.add(gdstk.Reference(ram_mem_contact_19, (44.8,12.8)))
ram_mem_write_driver_arr.add(gdstk.Reference(ram_mem_contact_19, (51.6,12.8)))
ram_mem_write_driver_arr.add(gdstk.Reference(ram_mem_contact_19, (58.4,12.8)))
ram_mem_write_driver_arr.add(gdstk.Reference(ram_mem_contact_19, (65.2,12.8)))
ram_mem_write_driver_arr.add(gdstk.Reference(ram_mem_contact_19, (72,12.8)))
ram_mem_write_driver_arr.add(gdstk.Reference(ram_mem_contact_19, (25.8,17.2)))
ram_mem_write_driver_arr.add(gdstk.Reference(ram_mem_contact_19, (32.6,17.2)))
ram_mem_write_driver_arr.add(gdstk.Reference(ram_mem_contact_19, (39.4,17.2)))
ram_mem_write_driver_arr.add(gdstk.Reference(ram_mem_contact_19, (46.2,17.2)))
ram_mem_write_driver_arr.add(gdstk.Reference(ram_mem_contact_19, (53,17.2)))
ram_mem_write_driver_arr.add(gdstk.Reference(ram_mem_contact_19, (59.8,17.2)))
ram_mem_write_driver_arr.add(gdstk.Reference(ram_mem_contact_19, (66.6,17.2)))
ram_mem_write_driver_arr.add(gdstk.Reference(ram_mem_contact_19, (73.4,17.2)))
ram_mem_write_driver_arr.add(gdstk.Reference(ram_mem_contact_19, (23,31.8)))
ram_mem_write_driver_arr.add(gdstk.Reference(ram_mem_contact_19, (29.8,31.8)))
ram_mem_write_driver_arr.add(gdstk.Reference(ram_mem_contact_19, (36.6,31.8)))
ram_mem_write_driver_arr.add(gdstk.Reference(ram_mem_contact_19, (43.4,31.8)))
ram_mem_write_driver_arr.add(gdstk.Reference(ram_mem_contact_19, (50.2,31.8)))
ram_mem_write_driver_arr.add(gdstk.Reference(ram_mem_contact_19, (57,31.8)))
ram_mem_write_driver_arr.add(gdstk.Reference(ram_mem_contact_19, (63.8,31.8)))
ram_mem_write_driver_arr.add(gdstk.Reference(ram_mem_contact_19, (70.6,31.8)))
ram_mem_write_driver_arr.add(gdstk.Label('data_0', (24,1), layer=51, texttype=0))
ram_mem_write_driver_arr.add(gdstk.Label('bl_0', (23,39.6), layer=51, texttype=0))
ram_mem_write_driver_arr.add(gdstk.Label('br_0', (25,38.1), layer=51, texttype=0))
ram_mem_write_driver_arr.add(gdstk.Label('data_1', (30.8,1), layer=51, texttype=0))
ram_mem_write_driver_arr.add(gdstk.Label('bl_1', (29.8,39.6), layer=51, texttype=0))
ram_mem_write_driver_arr.add(gdstk.Label('br_1', (31.8,38.1), layer=51, texttype=0))
ram_mem_write_driver_arr.add(gdstk.Label('data_2', (37.6,1), layer=51, texttype=0))
ram_mem_write_driver_arr.add(gdstk.Label('bl_2', (36.6,39.6), layer=51, texttype=0))
ram_mem_write_driver_arr.add(gdstk.Label('br_2', (38.6,38.1), layer=51, texttype=0))
ram_mem_write_driver_arr.add(gdstk.Label('data_3', (44.4,1), layer=51, texttype=0))
ram_mem_write_driver_arr.add(gdstk.Label('bl_3', (43.4,39.6), layer=51, texttype=0))
ram_mem_write_driver_arr.add(gdstk.Label('br_3', (45.4,38.1), layer=51, texttype=0))
ram_mem_write_driver_arr.add(gdstk.Label('data_4', (51.2,1), layer=51, texttype=0))
ram_mem_write_driver_arr.add(gdstk.Label('bl_4', (50.2,39.6), layer=51, texttype=0))
ram_mem_write_driver_arr.add(gdstk.Label('br_4', (52.2,38.1), layer=51, texttype=0))
ram_mem_write_driver_arr.add(gdstk.Label('data_5', (58,1), layer=51, texttype=0))
ram_mem_write_driver_arr.add(gdstk.Label('bl_5', (57,39.6), layer=51, texttype=0))
ram_mem_write_driver_arr.add(gdstk.Label('br_5', (59,38.1), layer=51, texttype=0))
ram_mem_write_driver_arr.add(gdstk.Label('data_6', (64.8,1), layer=51, texttype=0))
ram_mem_write_driver_arr.add(gdstk.Label('bl_6', (63.8,39.6), layer=51, texttype=0))
ram_mem_write_driver_arr.add(gdstk.Label('br_6', (65.8,38.1), layer=51, texttype=0))
ram_mem_write_driver_arr.add(gdstk.Label('data_7', (71.6,1), layer=51, texttype=0))
ram_mem_write_driver_arr.add(gdstk.Label('bl_7', (70.6,39.6), layer=51, texttype=0))
ram_mem_write_driver_arr.add(gdstk.Label('br_7', (72.6,38.1), layer=51, texttype=0))
ram_mem_write_driver_arr.add(gdstk.Label('en', (37.5,5.1), layer=49, texttype=0))
ram_mem_write_driver_arr.add(gdstk.Label('vdd', (37.9,6.6), layer=62, texttype=0))
ram_mem_write_driver_arr.add(gdstk.Label('vdd', (37.9,24), layer=62, texttype=0))
ram_mem_write_driver_arr.add(gdstk.Label('gnd', (37.9,17.6), layer=62, texttype=0))
ram_mem_write_driver_arr.add(gdstk.Label('gnd', (37.9,32.2), layer=62, texttype=0))
ram_mem_write_driver_arr.add(gdstk.Label('gnd', (37.9,13.2), layer=62, texttype=0))

ram_mem_port_data = lib.new_cell('RAM_Mem_port_data')
R(ram_mem_port_data, metal1, [(0,14.7,75,15.3), (0,22.5,75,23.1), (0,102.6,75,103.2)])
A(ram_mem_port_data, metal2, 21.7, 17.3, 1.6, 0.6, 8, 1, 6.8, 0)
A(ram_mem_port_data, metal2, 24.7, 18.7, 1.6, 0.6, 8, 1, 6.8, 0)
A(ram_mem_port_data, metal2, 22.7, 43.4, 0.6, 22.6, 8, 1, 6.8, 0)
A(ram_mem_port_data, metal2, 24.7, 43.4, 0.6, 21.2, 8, 1, 6.8, 0)
A(ram_mem_port_data, metal2, 21.2, 61.6, 0.8, 1.6, 8, 1, 6.8, 0)
A(ram_mem_port_data, metal2, 24.7, 64.6, 0.6, 2.8, 8, 1, 6.8, 0)
A(ram_mem_port_data, metal2, 22.7, 66, 0.6, 1.4, 8, 1, 6.8, 0)
A(ram_mem_port_data, metal2, 23.6, 106, 0.8, 2, 8, 1, 6.8, 0)
R(ram_mem_port_data, metal2, [(14.9,4.2,15.5,16.2), (18.9,4.2,19.5,16.2), (21.7,4.2,22.3,16.2), (25.7,4.2,26.3,16.2), (28.5,4.2,29.1,16.2), (32.5,4.2,33.1,16.2), (35.3,4.2,35.9,16.2), (39.3,4.2,39.9,16.2), (42.1,4.2,42.7,16.2), (46.1,4.2,46.7,16.2), (48.9,4.2,49.5,16.2), (52.9,4.2,53.5,16.2), (55.7,4.2,56.3,16.2), (59.7,4.2,60.3,16.2), (62.5,4.2,63.1,16.2), (66.5,4.2,67.1,16.2), (69.3,4.2,69.9,16.2), (73.3,4.2,73.9,16.2), (21.7,15.9,22.3,16.5), (25.7,15.9,26.3,16.5), (28.5,15.9,29.1,16.5), (32.5,15.9,33.1,16.5), (35.3,15.9,35.9,16.5), (39.3,15.9,39.9,16.5), (42.1,15.9,42.7,16.5), (46.1,15.9,46.7,16.5), (48.9,15.9,49.5,16.5), (52.9,15.9,53.5,16.5), (55.7,15.9,56.3,16.5), (59.7,15.9,60.3,16.5), (62.5,15.9,63.1,16.5), (66.5,15.9,67.1,16.5), (69.3,15.9,69.9,16.5), (73.3,15.9,73.9,16.5), (21.7,16.2,22.3,17.6), (21.7,16.2,22.3,17.6), (25.7,16.2,26.3,19), (25.7,16.2,26.3,19), (28.5,16.2,29.1,17.6), (28.5,16.2,29.1,17.6), (32.5,16.2,33.1,19), (32.5,16.2,33.1,19), (35.3,16.2,35.9,17.6), (35.3,16.2,35.9,17.6), (39.3,16.2,39.9,19), (39.3,16.2,39.9,19), (42.1,16.2,42.7,17.6), (42.1,16.2,42.7,17.6), (46.1,16.2,46.7,19), (46.1,16.2,46.7,19), (48.9,16.2,49.5,17.6), (48.9,16.2,49.5,17.6), (52.9,16.2,53.5,19), (52.9,16.2,53.5,19), (55.7,16.2,56.3,17.6), (55.7,16.2,56.3,17.6), (59.7,16.2,60.3,19), (59.7,16.2,60.3,19), (62.5,16.2,63.1,17.6), (62.5,16.2,63.1,17.6), (66.5,16.2,67.1,19), (66.5,16.2,67.1,19), (69.3,16.2,69.9,17.6), (69.3,16.2,69.9,17.6), (73.3,16.2,73.9,19), (73.3,16.2,73.9,19), (22.7,17.6,23.3,20.4), (22.7,17.6,23.3,20.4), (29.5,17.6,30.1,20.4), (29.5,17.6,30.1,20.4), (36.3,17.6,36.9,20.4), (36.3,17.6,36.9,20.4), (43.1,17.6,43.7,20.4), (43.1,17.6,43.7,20.4), (49.9,17.6,50.5,20.4), (49.9,17.6,50.5,20.4), (56.7,17.6,57.3,20.4), (56.7,17.6,57.3,20.4), (63.5,17.6,64.1,20.4), (63.5,17.6,64.1,20.4), (70.3,17.6,70.9,20.4), (70.3,17.6,70.9,20.4), (24.7,19,25.3,20.4), (24.7,19,25.3,20.4), (31.5,19,32.1,20.4), (31.5,19,32.1,20.4), (38.3,19,38.9,20.4), (38.3,19,38.9,20.4), (45.1,19,45.7,20.4), (45.1,19,45.7,20.4), (51.9,19,52.5,20.4), (51.9,19,52.5,20.4), (58.7,19,59.3,20.4), (58.7,19,59.3,20.4), (65.5,19,66.1,20.4), (65.5,19,66.1,20.4), (72.3,19,72.9,20.4), (72.3,19,72.9,20.4), (22.7,20.1,23.3,20.7), (24.7,20.1,25.3,20.7), (29.5,20.1,30.1,20.7), (31.5,20.1,32.1,20.7), (36.3,20.1,36.9,20.7), (38.3,20.1,38.9,20.7), (43.1,20.1,43.7,20.7), (45.1,20.1,45.7,20.7), (49.9,20.1,50.5,20.7), (51.9,20.1,52.5,20.7), (56.7,20.1,57.3,20.7), (58.7,20.1,59.3,20.7), (63.5,20.1,64.1,20.7), (65.5,20.1,66.1,20.7), (70.3,20.1,70.9,20.7), (72.3,20.1,72.9,20.7)])
R(ram_mem_port_data, metal3, [(0.4,5.2,75.4,6), (0.4,26,75.8,26.8), (0.4,39.4,75.4,40.2), (0.4,52.6,75.4,53.4), (0.4,58.6,75.8,59.4), (0.4,75.4,75.4,76.2), (0.4,83.6,75.4,84.4), (0.4,90,75.4,90.8), (0.4,94.4,75.4,95.2), (0.4,101,75.4,101.8)])
R(ram_mem_port_data, boundary, [(0,0,75,108)])
ram_mem_port_data.add(gdstk.Reference(ram_mem_precharge_array, (0,16.2), x_reflection=True))
ram_mem_port_data.add(gdstk.Reference(ram_mem_sense_amp_array, (0,63.2), x_reflection=True))
ram_mem_port_data.add(gdstk.Reference(ram_mem_write_driver_arr, (0,108), x_reflection=True))
ram_mem_port_data.add(gdstk.Label('din_0', (24,107), layer=51, texttype=0))
ram_mem_port_data.add(gdstk.Label('din_1', (30.8,107), layer=51, texttype=0))
ram_mem_port_data.add(gdstk.Label('din_2', (37.6,107), layer=51, texttype=0))
ram_mem_port_data.add(gdstk.Label('din_3', (44.4,107), layer=51, texttype=0))
ram_mem_port_data.add(gdstk.Label('din_4', (51.2,107), layer=51, texttype=0))
ram_mem_port_data.add(gdstk.Label('din_5', (58,107), layer=51, texttype=0))
ram_mem_port_data.add(gdstk.Label('din_6', (64.8,107), layer=51, texttype=0))
ram_mem_port_data.add(gdstk.Label('din_7', (71.6,107), layer=51, texttype=0))
ram_mem_port_data.add(gdstk.Label('dout_0', (21.6,62.4), layer=51, texttype=0))
ram_mem_port_data.add(gdstk.Label('dout_1', (28.4,62.4), layer=51, texttype=0))
ram_mem_port_data.add(gdstk.Label('dout_2', (35.2,62.4), layer=51, texttype=0))
ram_mem_port_data.add(gdstk.Label('dout_3', (42,62.4), layer=51, texttype=0))
ram_mem_port_data.add(gdstk.Label('dout_4', (48.8,62.4), layer=51, texttype=0))
ram_mem_port_data.add(gdstk.Label('dout_5', (55.6,62.4), layer=51, texttype=0))
ram_mem_port_data.add(gdstk.Label('dout_6', (62.4,62.4), layer=51, texttype=0))
ram_mem_port_data.add(gdstk.Label('dout_7', (69.2,62.4), layer=51, texttype=0))
ram_mem_port_data.add(gdstk.Label('rbl_bl', (15.2,10.2), layer=51, texttype=0))
ram_mem_port_data.add(gdstk.Label('rbl_br', (19.2,10.2), layer=51, texttype=0))
ram_mem_port_data.add(gdstk.Label('bl_0', (22,10.2), layer=51, texttype=0))
ram_mem_port_data.add(gdstk.Label('br_0', (26,10.2), layer=51, texttype=0))
ram_mem_port_data.add(gdstk.Label('bl_1', (28.8,10.2), layer=51, texttype=0))
ram_mem_port_data.add(gdstk.Label('br_1', (32.8,10.2), layer=51, texttype=0))
ram_mem_port_data.add(gdstk.Label('bl_2', (35.6,10.2), layer=51, texttype=0))
ram_mem_port_data.add(gdstk.Label('br_2', (39.6,10.2), layer=51, texttype=0))
ram_mem_port_data.add(gdstk.Label('bl_3', (42.4,10.2), layer=51, texttype=0))
ram_mem_port_data.add(gdstk.Label('br_3', (46.4,10.2), layer=51, texttype=0))
ram_mem_port_data.add(gdstk.Label('bl_4', (49.2,10.2), layer=51, texttype=0))
ram_mem_port_data.add(gdstk.Label('br_4', (53.2,10.2), layer=51, texttype=0))
ram_mem_port_data.add(gdstk.Label('bl_5', (56,10.2), layer=51, texttype=0))
ram_mem_port_data.add(gdstk.Label('br_5', (60,10.2), layer=51, texttype=0))
ram_mem_port_data.add(gdstk.Label('bl_6', (62.8,10.2), layer=51, texttype=0))
ram_mem_port_data.add(gdstk.Label('br_6', (66.8,10.2), layer=51, texttype=0))
ram_mem_port_data.add(gdstk.Label('bl_7', (69.6,10.2), layer=51, texttype=0))
ram_mem_port_data.add(gdstk.Label('br_7', (73.6,10.2), layer=51, texttype=0))
ram_mem_port_data.add(gdstk.Label('p_en_bar', (37.5,15), layer=49, texttype=0))
ram_mem_port_data.add(gdstk.Label('s_en', (37.5,22.8), layer=49, texttype=0))
ram_mem_port_data.add(gdstk.Label('w_en', (37.5,102.9), layer=49, texttype=0))
ram_mem_port_data.add(gdstk.Label('vdd', (37.9,84), layer=62, texttype=0))
ram_mem_port_data.add(gdstk.Label('vdd', (37.9,53), layer=62, texttype=0))
ram_mem_port_data.add(gdstk.Label('vdd', (37.9,39.8), layer=62, texttype=0))
ram_mem_port_data.add(gdstk.Label('vdd', (37.9,101.4), layer=62, texttype=0))
ram_mem_port_data.add(gdstk.Label('vdd', (37.9,5.6), layer=62, texttype=0))
ram_mem_port_data.add(gdstk.Label('gnd', (38.1,59), layer=62, texttype=0))
ram_mem_port_data.add(gdstk.Label('gnd', (37.9,75.8), layer=62, texttype=0))
ram_mem_port_data.add(gdstk.Label('gnd', (38.1,26.4), layer=62, texttype=0))
ram_mem_port_data.add(gdstk.Label('gnd', (37.9,90.4), layer=62, texttype=0))
ram_mem_port_data.add(gdstk.Label('gnd', (37.9,94.8), layer=62, texttype=0))

lib.write_gds('RAM_Mem_port_data.gds')
